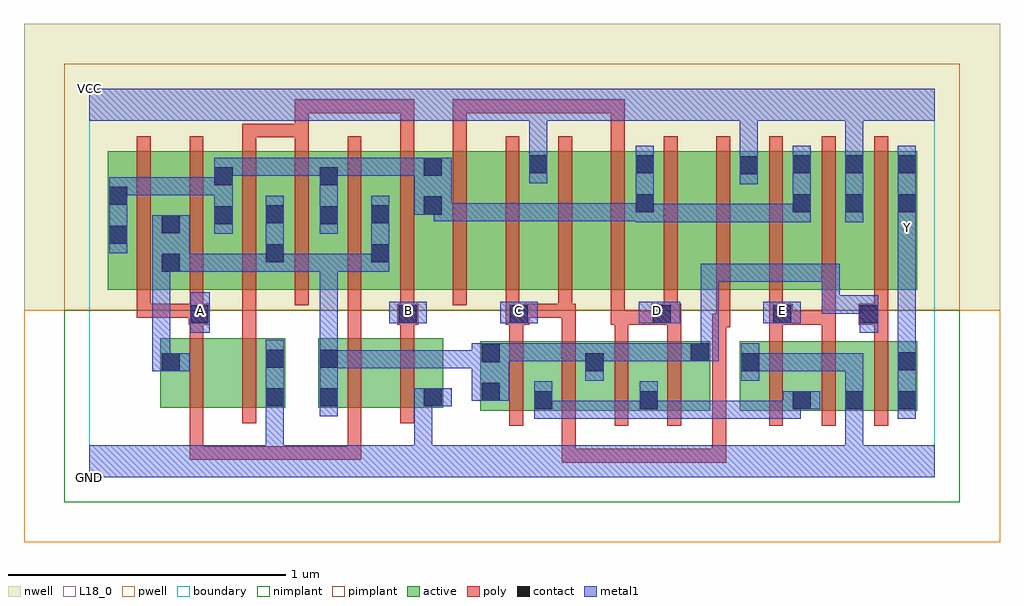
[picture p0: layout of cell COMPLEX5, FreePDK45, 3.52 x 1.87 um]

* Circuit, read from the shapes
.subckt COMPLEX5 A B C D E GND VCC Y
M1 n1 A n2 VSUBS nfet w=0.25u l=0.05u
M2 GND B n1 VSUBS nfet w=0.25u l=0.05u
M3 n3 A n2 VSUBS nfet w=0.25u l=0.05u
M4 GND B n3 VSUBS nfet w=0.25u l=0.05u
M5 n4 C n2 VSUBS nfet w=0.25u l=0.05u m=2
M6 n4 D n2 VSUBS nfet w=0.25u l=0.05u m=2
M7 n4 E GND VSUBS nfet w=0.25u l=0.05u m=2
M8 Y n2 GND VSUBS nfet w=0.25u l=0.05u
M9 n2 A n5 n6 pfet w=0.5u l=0.05u m=3
M10 n2 B n5 n6 pfet w=0.5u l=0.05u m=3
M11 n7 D n5 n6 pfet w=0.5u l=0.05u
M12 VCC C n7 n6 pfet w=0.5u l=0.05u
M13 n8 C VCC n6 pfet w=0.5u l=0.05u
M14 n5 D n8 n6 pfet w=0.5u l=0.05u
M15 n9 D n5 n6 pfet w=0.5u l=0.05u
M16 VCC C n9 n6 pfet w=0.5u l=0.05u
M17 n5 E VCC n6 pfet w=0.5u l=0.05u m=2
M18 Y n2 VCC n6 pfet w=0.5u l=0.05u
.ends

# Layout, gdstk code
import gdstk
lib = gdstk.Library(unit=1e-6, precision=1e-09)
def R(c, l, rs):  # rectangles x0, y0, x1, y1
    for r in rs: c.add(gdstk.rectangle(r[:2], r[2:], *l))
def A(c, l, x, y, w, h, nx, ny, dx, dy):  # array of equal rectangles
    R(c, l, [(x+i*dx, y+j*dy, x+i*dx+w, y+j*dy+h) for i in range(nx) for j in range(ny)])
active = (1, 0)
pwell = (2, 0)
nwell = (3, 0)
nimplant = (4, 0)
pimplant = (5, 0)
poly = (9, 0)
contact = (10, 0)
metal1 = (11, 0)
L18_0 = (18, 0)
boundary = (235, 0)

complex5 = lib.new_cell('COMPLEX5')
A(complex5, active, 2.342, 0.675, 0.265, 0.5, 3, 1, 0.19, 0)
R(complex5, active, [(1.41,0.24,1.485,0.49), (1.41,0.24,1.675,0.49), (1.6,0.24,1.86,0.49), (1.6,0.24,1.675,0.372), (1.785,0.24,2.055,0.49), (1.98,0.24,2.24,0.49), (1.98,0.24,2.055,0.467), (2.347,0.24,2.607,0.49), (2.532,0.24,2.797,0.49), (2.532,0.24,2.607,0.357), (2.722,0.24,2.987,0.49), (2.722,0.24,2.797,0.452), (2.912,0.24,2.987,0.49), (0.257,0.25,0.332,0.5), (0.257,0.25,0.482,0.5), (0.482,0.25,0.707,0.5), (0.632,0.25,0.707,0.5), (0.827,0.25,0.902,0.5), (0.827,0.25,1.052,0.5), (1.052,0.25,1.277,0.5), (1.202,0.25,1.277,0.5), (1.785,0.297,1.86,0.452), (2.165,0.297,2.24,0.49), (2.347,0.297,2.422,0.49), (0.067,0.675,0.332,1.175), (0.067,0.675,0.142,1.157), (0.257,0.675,0.522,1.175), (0.257,0.675,0.332,1.07), (0.447,0.675,0.707,1.175), (0.632,0.675,0.707,1.07), (0.632,0.675,0.902,1.175), (0.827,0.675,1.087,1.175), (1.012,0.675,1.277,1.175), (1.012,0.675,1.087,1.07), (1.202,0.675,1.432,1.175), (1.432,0.675,1.657,1.175), (1.582,0.675,1.812,1.175), (1.812,0.675,2.042,1.175), (1.967,0.675,2.192,1.175), (2.192,0.675,2.417,1.175), (2.912,0.675,2.987,1.175), (1.582,0.682,1.657,1.175), (0.447,0.697,0.522,1.157), (2.532,0.722,2.607,1.165), (0.827,0.745,0.902,1.175), (1.202,0.762,1.277,1.16), (1.967,0.807,2.042,1.175), (2.342,0.807,2.417,1.175), (2.722,0.807,2.797,1.175)])
R(complex5, pwell, [(-0.235,-0.235,3.285,0.602)])
R(complex5, nwell, [(-0.235,0.602,3.285,1.635)])
R(complex5, nimplant, [(-0.09,-0.09,3.14,0.602)])
R(complex5, pimplant, [(-0.09,0.602,3.14,1.49)])
A(complex5, poly, 1.515, 0.185, 0.05, 0.36, 4, 1, 0.19, 0)
A(complex5, poly, 2.452, 0.185, 0.05, 0.36, 3, 1, 0.19, 0)
A(complex5, poly, 2.452, 0.495, 0.05, 0.105, 3, 1, 0.19, 0)
A(complex5, poly, 0.172, 0.575, 0.05, 0.095, 3, 1, 0.19, 0)
A(complex5, poly, 1.692, 0.575, 0.05, 0.095, 4, 1, 0.38, 0)
A(complex5, poly, 0.172, 0.62, 0.05, 0.61, 15, 1, 0.19, 0)
R(complex5, poly, [(1.705,0.052,1.755,0.102), (1.705,0.052,1.755,0.102), (1.705,0.052,1.755,0.102), (1.705,0.052,1.895,0.102), (1.705,0.052,1.755,0.235), (1.845,0.052,1.895,0.102), (1.845,0.052,2.077,0.102), (2.027,0.052,2.077,0.102), (2.027,0.052,2.077,0.102), (2.027,0.052,2.077,0.102), (2.027,0.052,2.297,0.102), (2.247,0.052,2.297,0.102), (2.247,0.052,2.297,0.102), (2.247,0.052,2.297,0.102), (2.247,0.052,2.297,0.102), (2.247,0.052,2.297,0.102), (2.247,0.052,2.297,0.59), (0.362,0.062,0.412,0.112), (0.362,0.062,0.412,0.112), (0.362,0.062,0.412,0.112), (0.362,0.062,0.412,0.245), (0.362,0.062,0.66,0.112), (0.61,0.062,0.66,0.112), (0.61,0.062,0.66,0.112), (0.61,0.062,0.66,0.112), (0.61,0.062,0.85,0.112), (0.8,0.062,0.85,0.112), (0.8,0.062,0.85,0.112), (0.8,0.062,0.85,0.112), (0.8,0.062,0.982,0.112), (0.932,0.062,0.982,0.112), (0.932,0.062,0.982,0.245), (0.362,0.195,0.412,0.555), (0.552,0.195,0.602,0.555), (0.932,0.195,0.982,0.555), (1.122,0.195,1.172,0.555), (1.515,0.495,1.565,0.6), (1.705,0.495,1.755,0.625), (1.895,0.495,1.945,0.6), (2.085,0.495,2.135,0.6), (0.362,0.505,0.412,0.6), (0.552,0.505,0.602,0.625), (0.932,0.505,0.982,0.6), (1.122,0.505,1.172,0.6), (2.247,0.54,2.297,0.59), (2.247,0.54,2.297,0.59), (2.247,0.54,2.312,0.59), (2.262,0.54,2.312,0.67), (0.36,0.55,0.435,0.625), (0.932,0.55,0.982,0.67), (0.932,0.55,0.982,0.6), (1.112,0.55,1.187,0.625), (1.502,0.55,1.587,0.625), (1.882,0.55,1.932,0.67), (1.882,0.55,1.945,0.6), (1.895,0.55,2.077,0.6), (2.027,0.55,2.077,0.6), (2.027,0.55,2.077,0.6), (2.027,0.55,2.135,0.625), (2.452,0.55,2.537,0.625), (2.487,0.55,2.692,0.6), (2.642,0.55,2.692,0.67), (2.642,0.55,2.692,0.6), (2.642,0.55,2.692,0.6), (2.642,0.55,2.692,0.6), (2.775,0.55,2.882,0.625), (0.172,0.575,0.222,0.625), (0.172,0.575,0.222,0.625), (0.172,0.575,0.222,0.625), (0.172,0.575,0.41,0.625), (0.552,0.575,0.602,0.625), (1.122,0.575,1.172,0.67), (1.502,0.575,1.552,0.67), (1.537,0.575,1.587,0.625), (1.537,0.575,1.587,0.625), (1.537,0.575,1.742,0.625), (1.692,0.575,1.755,0.625), (0.552,1.18,0.602,1.275), (0.742,1.18,0.792,1.275), (1.122,1.18,1.172,1.362), (1.312,1.18,1.362,1.362), (1.882,1.18,1.932,1.362), (0.552,1.225,0.602,1.275), (0.552,1.225,0.602,1.275), (0.552,1.225,0.602,1.275), (0.552,1.225,0.792,1.275), (0.742,1.225,0.792,1.362), (0.742,1.312,0.792,1.362), (0.742,1.312,0.792,1.362), (0.742,1.312,1.03,1.362), (0.98,1.312,1.03,1.362), (0.98,1.312,1.03,1.362), (0.98,1.312,1.03,1.362), (0.98,1.312,1.172,1.362), (1.122,1.312,1.172,1.362), (1.312,1.312,1.362,1.362), (1.312,1.312,1.362,1.362), (1.312,1.312,1.362,1.362), (1.312,1.312,1.61,1.362), (1.56,1.312,1.61,1.362), (1.56,1.312,1.61,1.362), (1.56,1.312,1.61,1.362), (1.56,1.312,1.762,1.362), (1.712,1.312,1.762,1.362), (1.712,1.312,1.762,1.362), (1.712,1.312,1.762,1.362), (1.712,1.312,1.932,1.362), (1.882,1.312,1.932,1.362)])
A(complex5, contact, 2.537, 0.245, 0.065, 0.065, 3, 2, 0.19, 0.71)
A(complex5, contact, 2.537, 1.095, 0.065, 0.065, 3, 1, 0.19, 0)
R(complex5, contact, [(1.605,0.245,1.67,0.31), (1.985,0.245,2.05,0.31), (0.637,0.255,0.702,0.32), (0.832,0.255,0.897,0.32), (1.207,0.255,1.272,0.32), (1.415,0.275,1.48,0.34), (0.262,0.382,0.327,0.447), (1.79,0.382,1.855,0.447), (2.352,0.382,2.417,0.447), (2.917,0.385,2.982,0.45), (0.637,0.395,0.702,0.46), (0.832,0.395,0.897,0.46), (1.415,0.415,1.48,0.48), (2.17,0.417,2.235,0.482), (0.365,0.555,0.43,0.62), (1.117,0.555,1.182,0.62), (1.517,0.555,1.582,0.62), (2.032,0.555,2.097,0.62), (2.467,0.555,2.532,0.62), (2.78,0.555,2.845,0.62), (0.262,0.74,0.327,0.805), (0.637,0.775,0.702,0.84), (1.017,0.775,1.082,0.84), (0.072,0.842,0.137,0.907), (0.262,0.88,0.327,0.945), (0.452,0.912,0.517,0.977), (0.832,0.912,0.897,0.977), (0.637,0.915,0.702,0.98), (1.017,0.915,1.082,0.98), (1.207,0.947,1.272,1.012), (1.972,0.955,2.037,1.02), (0.072,0.982,0.137,1.047), (0.452,1.052,0.517,1.117), (0.832,1.052,0.897,1.117), (1.207,1.087,1.272,1.152), (2.347,1.092,2.412,1.157), (1.587,1.095,1.652,1.16), (1.972,1.095,2.037,1.16)])
A(complex5, metal1, 2.537, 0.92, 0.065, 0.275, 3, 1, 0.19, 0)
R(complex5, metal1, [(0,0,3.05,0.115), (0.637,0.05,0.702,0.115), (0.637,0.05,0.702,0.115), (0.637,0.05,0.702,0.115), (0.637,0.05,0.702,0.115), (0.637,0.05,0.702,0.285), (1.172,0.05,1.237,0.115), (1.172,0.05,1.237,0.115), (1.172,0.05,1.237,0.115), (1.172,0.05,1.237,0.115), (1.172,0.05,1.237,0.32), (2.727,0.05,2.792,0.275), (1.605,0.21,1.67,0.345), (1.605,0.21,1.67,0.275), (1.605,0.21,1.67,0.275), (1.605,0.21,1.807,0.275), (1.742,0.21,1.807,0.275), (1.742,0.21,1.807,0.275), (1.742,0.21,1.807,0.275), (1.742,0.21,2.05,0.275), (1.985,0.21,2.05,0.345), (1.985,0.21,2.222,0.275), (2.157,0.21,2.36,0.275), (2.157,0.21,2.222,0.275), (2.157,0.21,2.222,0.275), (2.157,0.21,2.222,0.275), (2.295,0.21,2.36,0.275), (2.295,0.21,2.417,0.275), (2.352,0.21,2.417,0.275), (2.352,0.21,2.567,0.275), (2.502,0.21,2.567,0.31), (2.727,0.21,2.792,0.345), (2.727,0.21,2.792,0.275), (2.727,0.21,2.792,0.275), (2.727,0.21,2.792,0.275), (2.727,0.21,2.792,0.275), (2.917,0.21,2.982,0.485), (0.637,0.22,0.702,0.495), (0.832,0.22,0.897,0.495), (2.502,0.245,2.567,0.31), (2.502,0.245,2.637,0.31), (1.172,0.255,1.307,0.32), (1.38,0.275,1.515,0.482), (2.727,0.28,2.792,0.447), (1.79,0.347,1.855,0.482), (2.352,0.347,2.417,0.482), (0.227,0.382,0.362,0.447), (0.227,0.382,0.292,0.805), (2.352,0.382,2.555,0.447), (2.49,0.382,2.555,0.447), (2.49,0.382,2.555,0.447), (2.49,0.382,2.555,0.447), (2.49,0.382,2.707,0.447), (2.642,0.382,2.707,0.447), (2.642,0.382,2.792,0.447), (2.727,0.382,2.792,0.447), (0.832,0.392,0.897,0.457), (0.832,0.392,0.897,0.457), (0.832,0.392,1.1,0.457), (1.035,0.392,1.1,0.457), (1.035,0.392,1.1,0.457), (1.035,0.392,1.1,0.457), (1.035,0.392,1.237,0.457), (1.172,0.392,1.237,0.457), (1.172,0.392,1.237,0.457), (1.172,0.392,1.237,0.457), (1.172,0.392,1.445,0.457), (1.45,0.417,1.515,0.482), (1.45,0.417,1.515,0.482), (1.45,0.417,1.652,0.482), (1.587,0.417,1.652,0.482), (1.587,0.417,1.652,0.482), (1.587,0.417,1.652,0.482), (1.587,0.417,1.855,0.482), (1.79,0.417,1.855,0.482), (1.79,0.417,1.855,0.482), (1.79,0.417,2.062,0.482), (1.997,0.417,2.2,0.482), (1.997,0.417,2.062,0.482), (1.997,0.417,2.062,0.482), (1.997,0.417,2.062,0.482), (2.135,0.417,2.27,0.482), (2.205,0.417,2.27,0.77), (2.917,0.42,2.982,0.897), (0.832,0.43,0.897,0.805), (0.365,0.52,0.435,0.667), (2.78,0.52,2.845,0.655), (1.082,0.555,1.217,0.632), (1.482,0.555,1.617,0.632), (1.982,0.555,2.132,0.632), (2.432,0.555,2.567,0.632), (2.642,0.59,2.845,0.655), (2.642,0.59,2.707,0.655), (2.642,0.59,2.707,0.77), (2.205,0.705,2.27,0.77), (2.205,0.705,2.27,0.77), (2.205,0.705,2.27,0.77), (2.205,0.705,2.36,0.77), (2.295,0.705,2.36,0.77), (2.295,0.705,2.417,0.77), (2.352,0.705,2.555,0.77), (2.352,0.705,2.417,0.77), (2.49,0.705,2.555,0.77), (2.49,0.705,2.555,0.77), (2.49,0.705,2.555,0.77), (2.49,0.705,2.707,0.77), (2.642,0.705,2.707,0.77), (2.642,0.705,2.707,0.77), (2.642,0.705,2.707,0.77), (0.227,0.74,0.292,0.805), (0.227,0.74,0.292,0.805), (0.227,0.74,0.362,0.945), (0.297,0.74,0.362,0.805), (0.297,0.74,0.362,0.805), (0.297,0.74,0.517,0.805), (0.452,0.74,0.517,0.805), (0.452,0.74,0.517,0.805), (0.452,0.74,0.517,0.805), (0.452,0.74,0.702,0.805), (0.637,0.74,0.702,1.015), (0.637,0.74,0.702,0.805), (0.637,0.74,0.702,0.805), (0.637,0.74,0.897,0.805), (0.832,0.74,0.897,0.805), (0.832,0.74,0.897,0.805), (0.832,0.74,0.897,0.805), (0.832,0.74,0.897,0.805), (0.832,0.74,0.897,0.805), (0.832,0.74,1.082,0.805), (1.017,0.74,1.082,1.015), (0.072,0.807,0.137,1.082), (2.917,0.832,2.982,0.967), (0.452,0.877,0.517,1.152), (0.832,0.877,0.897,1.152), (2.917,0.902,2.982,0.985), (1.972,0.92,2.037,1.195), (1.972,0.92,2.037,0.985), (1.972,0.92,2.037,0.985), (1.972,0.92,2.2,0.985), (2.135,0.92,2.2,0.985), (2.135,0.92,2.36,0.985), (2.295,0.92,2.36,0.985), (2.295,0.92,2.417,0.985), (2.352,0.92,2.417,0.985), (2.352,0.92,2.57,0.985), (2.505,0.92,2.57,0.985), (2.505,0.92,2.602,0.985), (1.242,0.922,1.515,0.987), (1.242,0.922,1.307,1.012), (1.45,0.922,1.515,0.987), (1.45,0.922,1.515,0.987), (1.45,0.922,1.515,0.987), (1.45,0.922,1.652,0.987), (1.587,0.922,1.652,0.987), (1.587,0.922,1.652,0.987), (1.587,0.922,1.652,0.987), (1.587,0.922,1.9,0.987), (1.835,0.922,1.9,0.987), (1.835,0.922,1.9,0.987), (1.835,0.922,1.9,0.987), (1.835,0.922,2.037,0.987), (1.172,0.947,1.307,1.152), (1.242,0.947,1.307,1.012), (0.072,1.017,0.275,1.082), (0.072,1.017,0.137,1.082), (0.072,1.017,0.137,1.082), (0.21,1.017,0.275,1.082), (0.21,1.017,0.275,1.082), (0.21,1.017,0.275,1.082), (0.21,1.017,0.517,1.082), (2.347,1.057,2.412,1.192), (1.587,1.06,1.652,1.195), (0.452,1.087,0.655,1.152), (0.452,1.087,0.517,1.152), (0.452,1.087,0.517,1.152), (0.59,1.087,0.655,1.152), (0.59,1.087,0.655,1.152), (0.59,1.087,0.655,1.152), (0.59,1.087,0.897,1.152), (0.832,1.087,0.897,1.152), (0.832,1.087,0.897,1.152), (0.832,1.087,1.1,1.152), (1.035,1.087,1.1,1.152), (1.035,1.087,1.1,1.152), (1.035,1.087,1.1,1.152), (1.035,1.087,1.237,1.152), (2.347,1.127,2.412,1.35), (1.587,1.13,1.652,1.35), (1.587,1.13,1.652,1.195), (1.587,1.13,1.652,1.195), (2.727,1.13,2.792,1.35), (0,1.285,3.05,1.4), (2.347,1.285,2.412,1.35), (2.347,1.285,2.412,1.35), (2.727,1.285,2.792,1.35), (2.727,1.285,2.792,1.35)])
R(complex5, L18_0, [(0,0,3.05,0.115), (0.637,0.05,0.702,0.115), (0.637,0.05,0.702,0.115), (0.637,0.05,0.702,0.115), (0.637,0.05,0.702,0.115), (0.637,0.05,0.702,0.285), (1.172,0.05,1.237,0.115), (1.172,0.05,1.237,0.115), (1.172,0.05,1.237,0.115), (1.172,0.05,1.237,0.115), (1.172,0.05,1.237,0.32), (2.727,0.05,2.792,0.275), (2.727,0.21,2.792,0.275), (2.727,0.21,2.792,0.275), (2.727,0.21,2.792,0.275), (2.727,0.21,2.792,0.275), (2.727,0.21,2.792,0.345), (2.917,0.21,2.982,0.485), (0.637,0.22,0.702,0.495), (1.172,0.255,1.307,0.32), (2.727,0.28,2.792,0.447), (2.352,0.347,2.417,0.482), (2.352,0.382,2.555,0.447), (2.49,0.382,2.555,0.447), (2.49,0.382,2.555,0.447), (2.49,0.382,2.555,0.447), (2.49,0.382,2.707,0.447), (2.642,0.382,2.707,0.447), (2.642,0.382,2.792,0.447), (2.727,0.382,2.792,0.447), (2.917,0.42,2.982,0.897), (0.365,0.52,0.435,0.667), (1.082,0.555,1.217,0.632), (1.482,0.555,1.617,0.632), (1.982,0.555,2.132,0.632), (2.432,0.555,2.567,0.632), (0.367,0.567,0.432,0.632), (1.117,0.567,1.182,0.632), (1.517,0.567,1.582,0.632), (2.017,0.567,2.082,0.632), (2.467,0.567,2.532,0.632), (2.917,0.832,2.982,0.967), (2.917,0.867,2.982,0.932), (2.917,0.902,2.982,0.985), (2.727,0.92,2.792,1.195), (2.917,0.92,2.982,1.195), (2.347,1.057,2.412,1.192), (1.587,1.06,1.652,1.195), (2.347,1.127,2.412,1.35), (1.587,1.13,1.652,1.195), (1.587,1.13,1.652,1.195), (1.587,1.13,1.652,1.35), (2.727,1.13,2.792,1.35), (0,1.285,3.05,1.4), (2.347,1.285,2.412,1.35), (2.347,1.285,2.412,1.35), (2.727,1.285,2.792,1.35), (2.727,1.285,2.792,1.35)])
R(complex5, boundary, [(0,0,3.05,1.4)])
complex5.add(gdstk.Label('A', (0.4,0.6), layer=11, texttype=0))
complex5.add(gdstk.Label('B', (1.15,0.6), layer=11, texttype=0))
complex5.add(gdstk.Label('C', (1.55,0.6), layer=11, texttype=0))
complex5.add(gdstk.Label('D', (2.05,0.6), layer=11, texttype=0))
complex5.add(gdstk.Label('E', (2.5,0.6), layer=11, texttype=0))
complex5.add(gdstk.Label('Y', (2.95,0.9), layer=11, texttype=0))
complex5.add(gdstk.Label('VCC', (0,1.4), layer=11, texttype=0))
complex5.add(gdstk.Label('GND', (0,0), layer=11, texttype=0))

lib.write_gds('COMPLEX5.gds')
